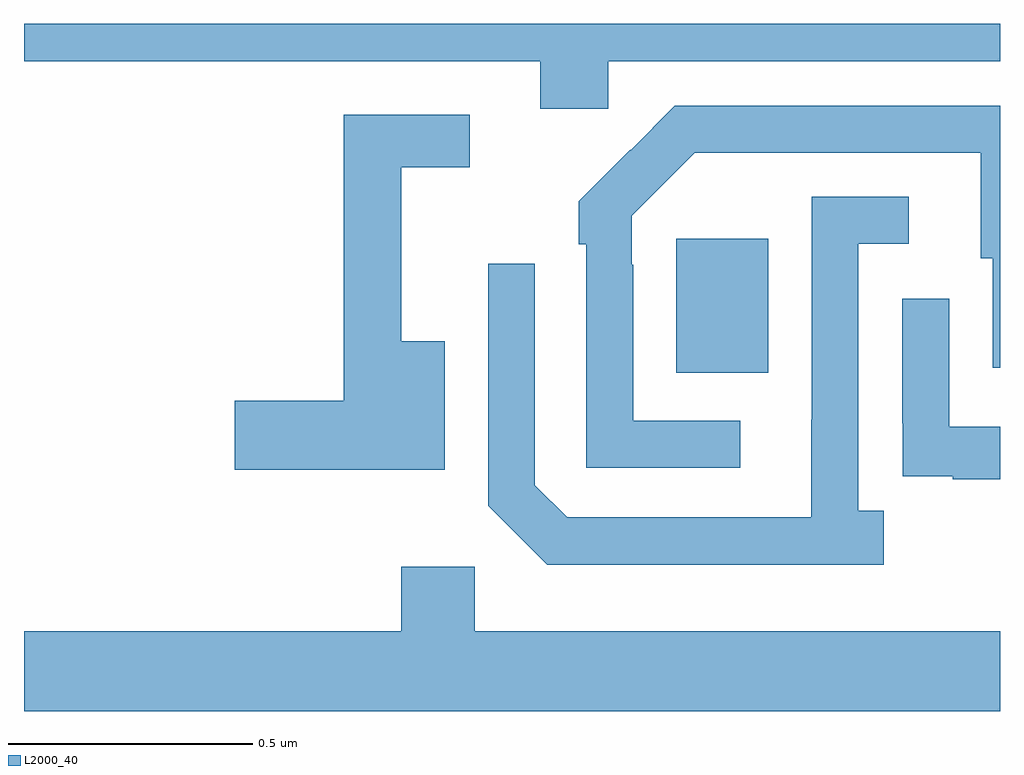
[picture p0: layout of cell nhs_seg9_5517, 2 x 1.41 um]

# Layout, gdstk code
import gdstk
lib = gdstk.Library(unit=1e-6, precision=1e-09)
def R(c, l, rs):  # rectangles x0, y0, x1, y1
    for r in rs: c.add(gdstk.rectangle(r[:2], r[2:], *l))
def P(c, l, *ps):  # polygons
    for p in ps: c.add(gdstk.Polygon(p, *l))
L2000_40 = (2000, 40)

nhs_seg9_5517 = lib.new_cell('nhs_seg9_5517')
R(nhs_seg9_5517, L2000_40, [(181.337,1191.785,181.525,1192.06)])
P(nhs_seg9_5517, L2000_40, [(181.197,1192.424),(182,1192.424),(182,1192.5),(180,1192.5),(180,1192.424),(181.058,1192.424),(181.058,1192.326),(181.197,1192.326)],
  [(181.468,1191.687),(181.248,1191.687),(181.248,1192.007),(181.245,1192.007),(181.245,1192.107),(181.374,1192.236),(181.961,1192.236),(181.961,1192.02),(181.985,1192.02),(181.985,1191.795),(182,1191.795),(182,1192.332),(181.334,1192.332),(181.243,1192.241),(181.242,1192.242),(181.137,1192.137),(181.137,1192.049),(181.152,1192.049),(181.152,1191.591),(181.468,1191.591)],
  [(180.862,1191.85),(180.773,1191.85),(180.773,1192.206),(180.913,1192.206),(180.913,1192.314),(180.655,1192.314),(180.655,1191.728),(180.432,1191.728),(180.432,1191.586),(180.862,1191.586)],
  [(181.762,1191.502),(181.71,1191.502),(181.71,1192.05),(181.813,1192.05),(181.813,1192.146),(181.614,1192.146),(181.614,1191.689),(181.613,1191.689),(181.613,1191.489),(181.113,1191.489),(181.047,1191.555),(181.047,1192.009),(180.951,1192.009),(180.951,1191.513),(181.072,1191.392),(181.762,1191.392)],
  [(182,1191.675),(181.896,1191.675),(181.896,1191.937),(181.8,1191.937),(181.8,1191.682),(181.801,1191.682),(181.801,1191.573),(181.903,1191.573),(181.903,1191.567),(182,1191.567)],
  [(182,1191.256),(180.924,1191.256),(180.924,1191.388),(180.773,1191.388),(180.773,1191.256),(180,1191.256),(180,1191.092),(182,1191.092)])

lib.write_gds('nhs_seg9_5517.gds')
